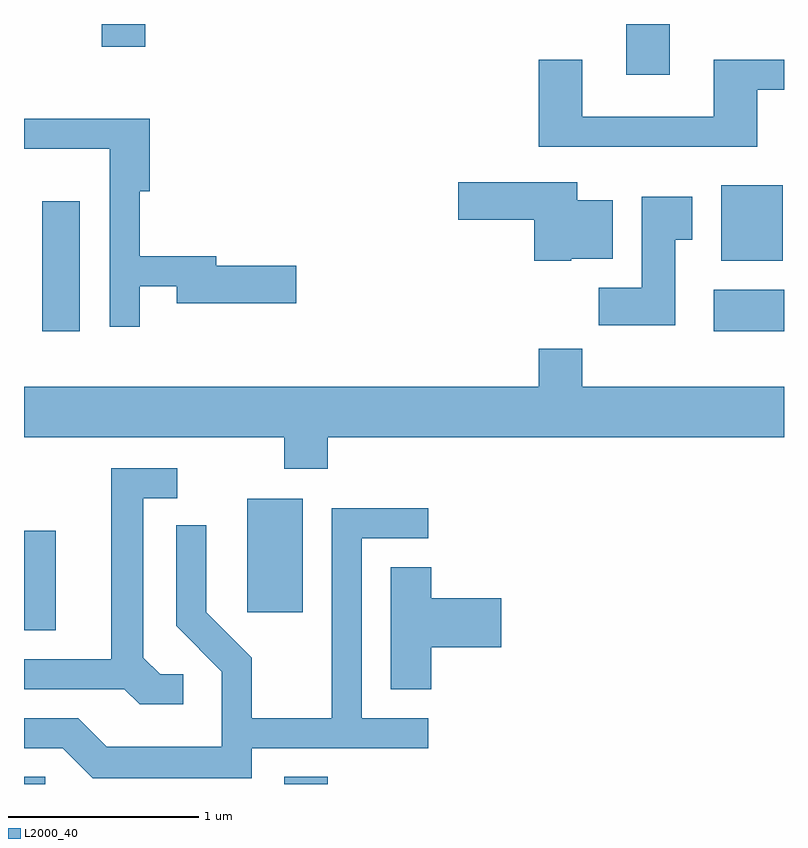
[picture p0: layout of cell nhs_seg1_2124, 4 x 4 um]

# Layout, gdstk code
import gdstk
lib = gdstk.Library(unit=1e-6, precision=1e-09)
def R(c, l, rs):  # rectangles x0, y0, x1, y1
    for r in rs: c.add(gdstk.rectangle(r[:2], r[2:], *l))
def P(c, l, *ps):  # polygons
    for p in ps: c.add(gdstk.Polygon(p, *l))
L2000_40 = (2000, 40)

nhs_seg1_2124 = lib.new_cell('nhs_seg1_2124')
R(nhs_seg1_2124, L2000_40, [(249.611,937.712,249.724,937.749), (250.981,937.712,251.209,937.749), (249.611,938.521,249.779,939.044), (250.786,938.616,251.079,939.214), (249.706,940.096,249.904,940.779), (253.241,940.096,253.611,940.314), (253.281,940.466,253.604,940.864), (252.781,941.446,253.009,941.712), (250.021,941.591,250.249,941.712)])
P(nhs_seg1_2124, L2000_40, [(253.469,941.366),(253.611,941.366),(253.611,941.524),(253.241,941.524),(253.241,941.224),(252.549,941.224),(252.549,941.524),(252.321,941.524),(252.321,941.066),(253.469,941.066)],
  [(250.219,940.331),(250.416,940.331),(250.416,940.241),(251.044,940.241),(251.044,940.439),(250.624,940.439),(250.624,940.489),(250.219,940.489),(250.219,940.831),(250.274,940.831),(250.274,941.214),(249.611,941.214),(249.611,941.056),(250.061,941.056),(250.061,940.118),(250.219,940.118)],
  [(252.49,940.476),(252.709,940.476),(252.709,940.784),(252.524,940.784),(252.524,940.879),(251.896,940.879),(251.896,940.681),(252.296,940.681),(252.296,940.466),(252.49,940.466)],
  [(253.039,940.576),(253.129,940.576),(253.129,940.804),(252.861,940.804),(252.861,940.324),(252.636,940.324),(252.636,940.126),(253.039,940.126)],
  [(251.209,939.536),(253.611,939.536),(253.611,939.804),(252.549,939.804),(252.549,940.004),(252.321,940.004),(252.321,939.804),(249.611,939.804),(249.611,939.536),(250.981,939.536),(250.981,939.371),(251.209,939.371)],
  [(250.448,938.289),(250.327,938.289),(250.239,938.377),(250.239,939.216),(250.418,939.216),(250.418,939.374),(250.071,939.374),(250.071,938.369),(249.611,938.369),(249.611,938.211),(250.139,938.211),(250.219,938.131),(250.448,938.131)],
  [(250.809,937.901),(251.738,937.901),(251.738,938.059),(251.389,938.059),(251.389,939.006),(251.738,939.006),(251.738,939.164),(251.231,939.164),(251.231,938.059),(250.809,938.059),(250.809,938.377),(250.569,938.617),(250.569,939.073),(250.411,939.073),(250.411,938.544),(250.651,938.304),(250.651,937.909),(250.047,937.909),(249.897,938.059),(249.611,938.059),(249.611,937.901),(249.814,937.901),(249.974,937.741),(250.809,937.741)],
  [(251.754,938.431),(252.124,938.431),(252.124,938.689),(251.754,938.689),(251.754,938.854),(251.541,938.854),(251.541,938.211),(251.754,938.211)])

lib.write_gds('nhs_seg1_2124.gds')
